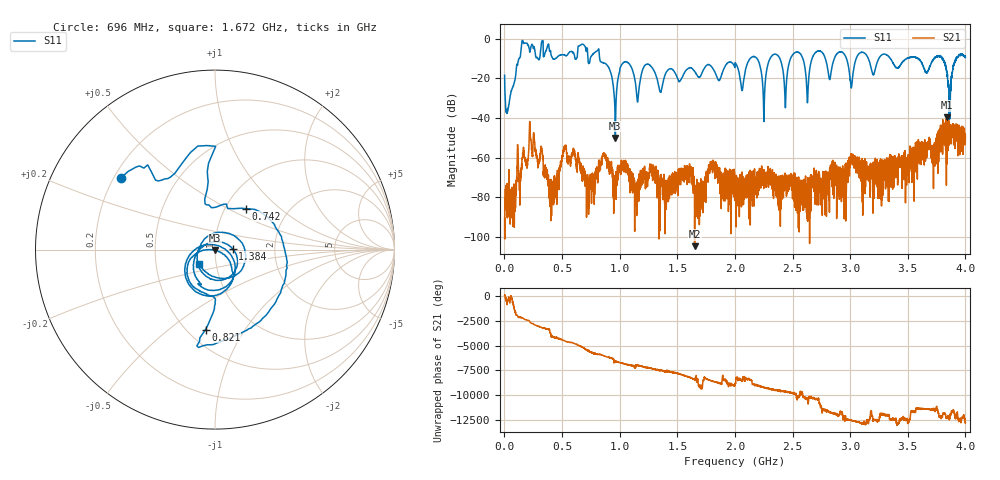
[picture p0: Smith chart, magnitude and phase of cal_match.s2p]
!Created with skrf (http://scikit-rf.org).
# GHz S RI R 50.0
!freq ReS11 ImS11 ReS21 ImS21 ReS12 ImS12 ReS22 ImS22
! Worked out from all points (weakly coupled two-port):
!   4000 points, 1 MHz to 4 GHz, reference 50 ohm
!   highest |S21| = -39.66 dB at 3.842 GHz (marker M1); lowest = -104.8 dB at 1.65 GHz (marker M2)
!   lowest |S11| = -50.2 dB at 962 MHz (marker M3), VSWR 1.01, Z = 49.8 - j0.269 ohm
!   |S11| at or under -10 dB: 826 MHz to 2.133 GHz (1.307 GHz wide, 88.3 % of centre); 3.348 GHz to 3.492 GHz (143.8 MHz wide, 4.2 % of centre); 3.589 GHz to 3.73 GHz (140.5 MHz wide, 3.84 % of centre) (the widest 3 of 19)
!   S12 and S22 are empty: the file has one direction only
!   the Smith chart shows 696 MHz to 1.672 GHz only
!   S11 on the Smith chart (normalised r, x): 696 MHz: 0.23, +0.32; 742 MHz: 1.24, +0.62; 821 MHz: 0.61, -0.68; 1.384 GHz: 1.22, +0.01; 1.672 GHz: 0.83, -0.13
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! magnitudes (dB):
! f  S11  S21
! 1 MHz  -18.5  -90.7
! 236 MHz  -3.2  -55.4
! 406 MHz  -8.5  -82.2
! 521 MHz  -8.2  -54.5
! 668 MHz  -2.9  -64.9
! 696 MHz  -3.6  -67.3
! 742 MHz  -10.9  -69.4
! 821 MHz  -7.0  -61.2
! 962 MHz  -50.2  -71.3
! 1.044 GHz  -11.7  -64.4
! 1.334 GHz  -22.7  -73.8
! 1.384 GHz  -20.1  -68.5
! 1.65 GHz  -16.5  -104.8
! 1.672 GHz  -18.5  -77.7
! 2.001 GHz  -12.1  -74.0
! 2.251 GHz  -41.9  -69.5
! 2.333 GHz  -8.1  -70.7
! 2.437 GHz  -34.2  -71.4
! 2.667 GHz  -10.4  -69.7
! 3.334 GHz  -9.0  -75.4
! 3.842 GHz  -17.6  -39.7
! 4 GHz  -9.6  -48.8
